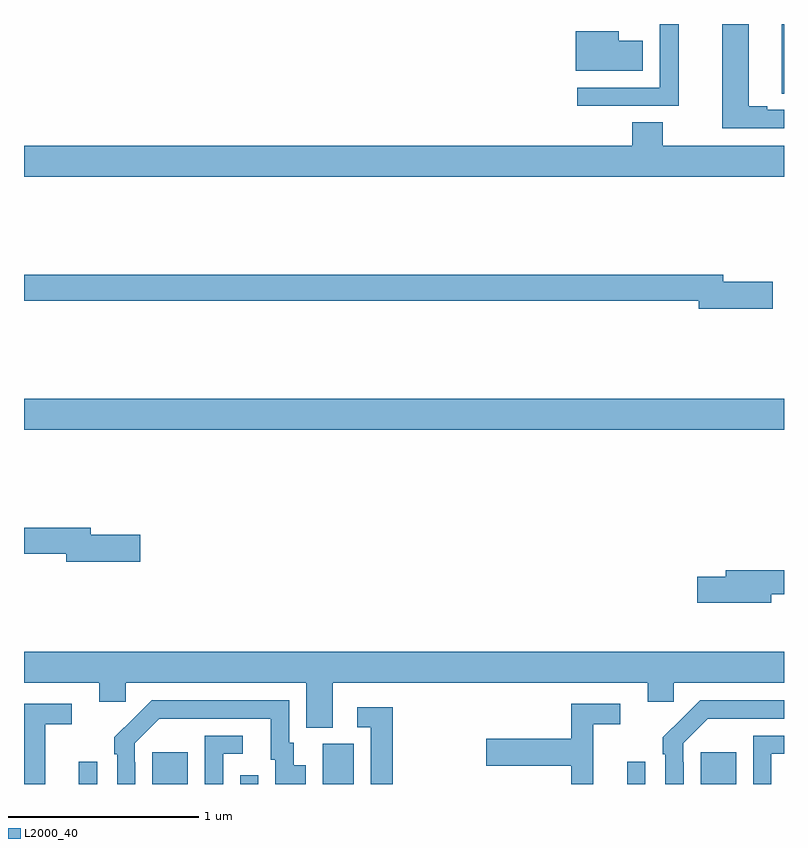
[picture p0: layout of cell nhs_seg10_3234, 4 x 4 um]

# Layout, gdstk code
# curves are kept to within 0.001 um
import gdstk
lib = gdstk.Library(unit=1e-6, precision=1e-09)
def R(c, l, rs):  # rectangles x0, y0, x1, y1
    for r in rs: c.add(gdstk.rectangle(r[:2], r[2:], *l))
def P(c, l, *ps):  # polygons
    for p in ps: c.add(gdstk.Polygon(p, *l))
L2000_40 = (2000, 40)

nhs_seg10_3234 = lib.new_cell('nhs_seg10_3234')
R(nhs_seg10_3234, L2000_40, [(287.289,1250.5,287.385,1250.617), (287.675,1250.5,287.863,1250.668), (288.138,1250.5,288.234,1250.545), (288.572,1250.5,288.736,1250.712), (290.175,1250.5,290.271,1250.617), (290.561,1250.5,290.749,1250.668), (287,1252.364,291,1252.528), (290.987,1254.133,291,1254.5)])
P(nhs_seg10_3234, L2000_40, [(291,1254.048),(290.911,1254.048),(290.911,1254.068),(290.815,1254.068),(290.815,1254.5),(290.675,1254.5),(290.675,1253.952),(291,1253.952)],
  [(290.445,1254.5),(290.346,1254.5),(290.346,1254.165),(289.911,1254.165),(289.911,1254.069),(290.445,1254.069)],
  [(290.257,1254.412),(290.131,1254.412),(290.131,1254.463),(289.904,1254.463),(289.904,1254.254),(290.257,1254.254)],
  [(291,1253.86),(290.361,1253.86),(290.361,1253.984),(290.201,1253.984),(290.201,1253.86),(287,1253.86),(287,1253.696),(291,1253.696)],
  [(290.941,1253.144),(290.68,1253.144),(290.68,1253.18),(287,1253.18),(287,1253.044),(290.552,1253.044),(290.552,1253.002),(290.941,1253.002)],
  [(287.611,1251.812),(287.35,1251.812),(287.35,1251.848),(287,1251.848),(287,1251.712),(287.222,1251.712),(287.222,1251.67),(287.611,1251.67)],
  [(290.932,1251.498),(291,1251.498),(291,1251.626),(290.693,1251.626),(290.693,1251.59),(290.544,1251.59),(290.544,1251.455),(290.932,1251.455)],
  [(288.625,1251.032),(290.282,1251.032),(290.282,1250.934),(290.421,1250.934),(290.421,1251.032),(291,1251.032),(291,1251.196),(287,1251.196),(287,1251.032),(287.396,1251.032),(287.396,1250.934),(287.535,1250.934),(287.535,1251.032),(288.485,1251.032),(288.485,1250.797),(288.625,1250.797)],
  [(290.472,1250.615),(290.469,1250.615),(290.469,1250.715),(290.598,1250.844),(291,1250.844),(291,1250.94),(290.558,1250.94),(290.361,1250.745),(290.361,1250.657),(290.376,1250.657),(290.376,1250.5),(290.472,1250.5)],
  [(287.586,1250.615),(287.583,1250.615),(287.583,1250.715),(287.712,1250.844),(288.299,1250.844),(288.299,1250.628),(288.323,1250.628),(288.323,1250.5),(288.484,1250.5),(288.484,1250.599),(288.421,1250.599),(288.421,1250.718),(288.396,1250.718),(288.396,1250.94),(287.672,1250.94),(287.475,1250.745),(287.475,1250.657),(287.49,1250.657),(287.49,1250.5),(287.586,1250.5)],
  [(287.111,1250.814),(287.251,1250.814),(287.251,1250.922),(287,1250.922),(287,1250.5),(287.111,1250.5)],
  [(289.997,1250.814),(290.137,1250.814),(290.137,1250.922),(289.879,1250.922),(289.879,1250.739),(289.434,1250.739),(289.434,1250.597),(289.879,1250.597),(289.879,1250.5),(289.997,1250.5)],
  [(288.941,1250.905),(288.753,1250.905),(288.753,1250.799),(288.825,1250.799),(288.825,1250.5),(288.941,1250.5)],
  [(288.048,1250.658),(288.151,1250.658),(288.151,1250.754),(287.952,1250.754),(287.952,1250.5),(288.048,1250.5)],
  [(290.934,1250.658),(291,1250.658),(291,1250.754),(290.838,1250.754),(290.838,1250.5),(290.934,1250.5)])

lib.write_gds('nhs_seg10_3234.gds')
